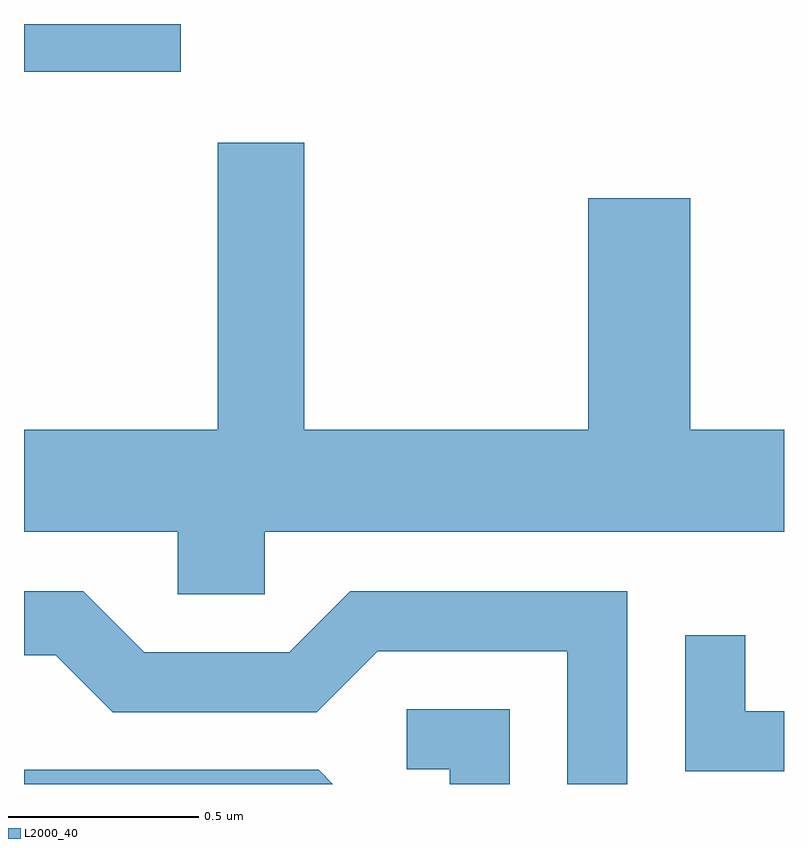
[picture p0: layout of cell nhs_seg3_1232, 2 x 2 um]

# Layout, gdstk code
import gdstk
lib = gdstk.Library(unit=1e-6, precision=1e-09)
def R(c, l, rs):  # rectangles x0, y0, x1, y1
    for r in rs: c.add(gdstk.rectangle(r[:2], r[2:], *l))
def P(c, l, *ps):  # polygons
    for p in ps: c.add(gdstk.Polygon(p, *l))
L2000_40 = (2000, 40)

nhs_seg3_1232 = lib.new_cell('nhs_seg3_1232')
R(nhs_seg3_1232, L2000_40, [(193.611,1253.766,194.024,1253.892)])
P(nhs_seg3_1232, L2000_40, [(194.244,1252.556),(195.611,1252.556),(195.611,1252.824),(195.364,1252.824),(195.364,1253.434),(195.096,1253.434),(195.096,1252.824),(194.349,1252.824),(194.349,1253.579),(194.121,1253.579),(194.121,1252.824),(193.611,1252.824),(193.611,1252.556),(194.016,1252.556),(194.016,1252.391),(194.244,1252.391)],
  [(195.199,1252.399),(194.469,1252.399),(194.309,1252.239),(193.927,1252.239),(193.767,1252.399),(193.611,1252.399),(193.611,1252.231),(193.694,1252.231),(193.844,1252.081),(194.382,1252.081),(194.542,1252.241),(195.041,1252.241),(195.041,1251.892),(195.199,1251.892)],
  [(195.611,1252.084),(195.509,1252.084),(195.509,1252.283),(195.351,1252.283),(195.351,1251.926),(195.611,1251.926)],
  [(194.889,1252.089),(194.618,1252.089),(194.618,1251.931),(194.731,1251.931),(194.731,1251.892),(194.889,1251.892)],
  [(194.387,1251.929),(193.611,1251.929),(193.611,1251.892),(194.424,1251.892)])

lib.write_gds('nhs_seg3_1232.gds')
